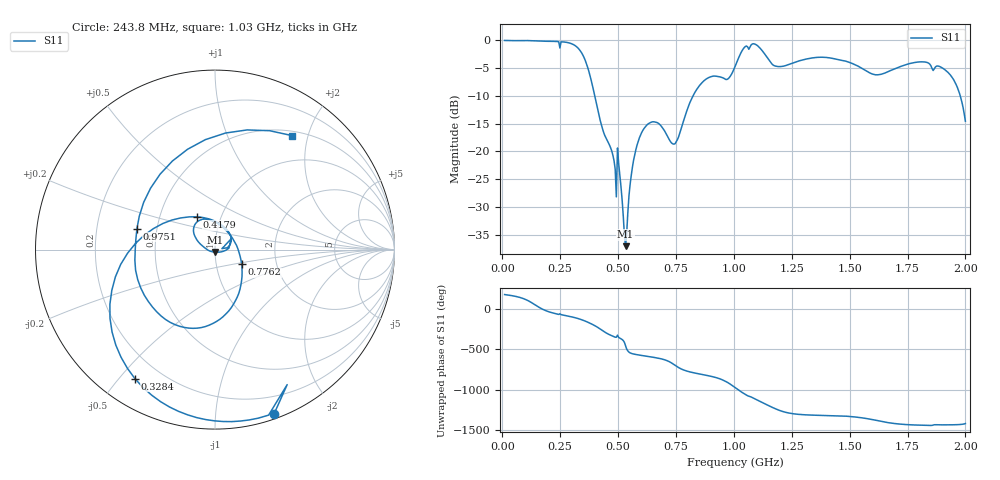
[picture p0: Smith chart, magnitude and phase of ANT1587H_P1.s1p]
!Created with skrf (http://scikit-rf.org).
# Hz S RI R 50.0
!freq ReS11 ImS11
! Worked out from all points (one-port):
!   401 points, 10 MHz to 2 GHz, reference 50 ohm
!   lowest |S11| = -37.1 dB at 532.4 MHz (marker M1), VSWR 1.03, Z = 49.8 - j1.38 ohm
!   |S11| at or under -10 dB: 399.3 MHz to 823.9 MHz (424.6 MHz wide, 69.4 % of centre); 1.978 GHz to end of sweep
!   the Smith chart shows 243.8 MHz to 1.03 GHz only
!   S11 on the Smith chart (normalised r, x): 243.8 MHz: 0.04, -1.42; 328.4 MHz: 0.11, -0.55; 417.9 MHz: 0.77, +0.29; 776.1 MHz: 1.33, -0.22; 975.1 MHz: 0.38, +0.11; 1.03 GHz: 0.57, +1.74
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1e7  -0.9956 0.069
7.965e7  -0.7283 0.6795
1.24425e8  0.183 0.9765
1.692e8  0.9848 0.0255
2.04025e8  0.7521 -0.6301
2.43825e8  0.33 -0.9132
2.5875e8  0.2407 -0.9392
3.284e8  -0.446 -0.719
3.63225e8  -0.5748 -0.2268
4.1795e8  -0.1023 0.1828
5.075e8  0.0614 -0.00317
5.32375e8  -0.00182 -0.0139
6.07e8  -0.1193 0.0984
7.5625e8  0.1275 0.00439
7.7615e8  0.1488 -0.082
8.9555e8  -0.1714 -0.4336
9.7515e8  -0.4349 0.1174
1.005e9  -0.1528 0.559
1.029875e9  0.4296 0.635
1.049775e9  0.8251 0.3079
1.079625e9  0.88 -0.292
1.119425e9  0.2226 -0.7913
1.17415e9  -0.5122 -0.2964
1.25375e9  -0.4944 0.3779
1.5025e9  -0.1904 0.5998
1.75125e9  0.6069 0.0689
1.9204e9  0.5235 0.0383
2e9  0.1756 0.0641
